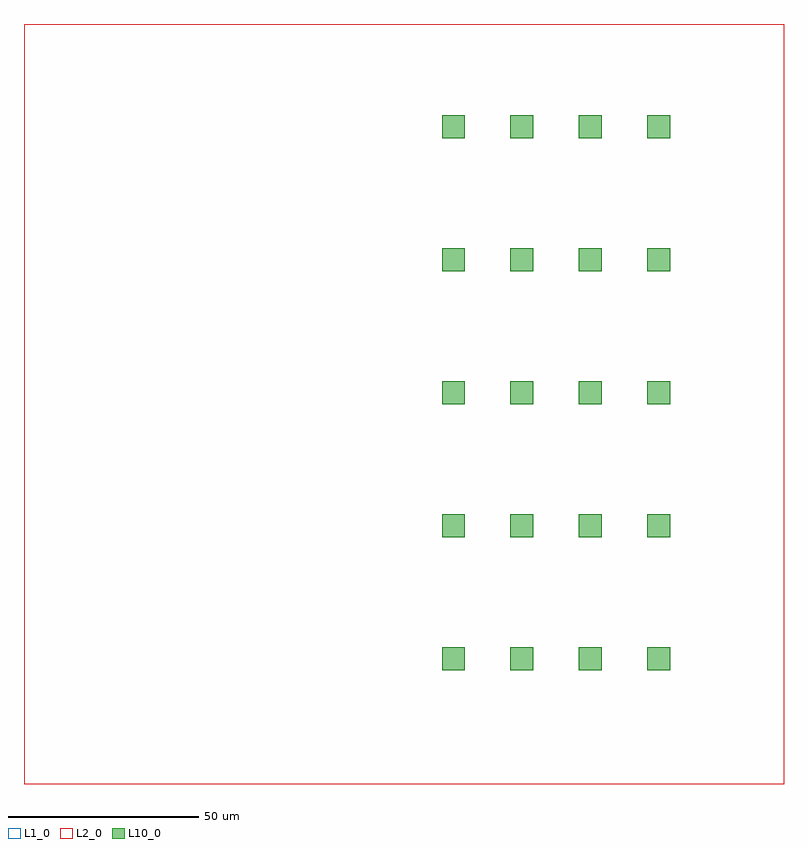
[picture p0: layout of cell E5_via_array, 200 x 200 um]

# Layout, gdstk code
import gdstk
lib = gdstk.Library(unit=1e-6, precision=1e-09)
def R(c, l, rs):  # rectangles x0, y0, x1, y1
    for r in rs: c.add(gdstk.rectangle(r[:2], r[2:], *l))
L1_0 = (1, 0)
L2_0 = (2, 0)
L10_0 = (10, 0)

via_unit = lib.new_cell('VIA_UNIT')
R(via_unit, L10_0, [(0,0,6,6)])

e5_via_array = lib.new_cell('E5_via_array')
R(e5_via_array, L1_0, [(0,0,200,200)])
R(e5_via_array, L2_0, [(0,0,200,200)])
r = gdstk.Reference(via_unit, (110,30)); r.repetition = gdstk.Repetition(4, 5, v1=(18,0), v2=(0,35)); e5_via_array.add(r)

lib.write_gds('E5_via_array.gds')
